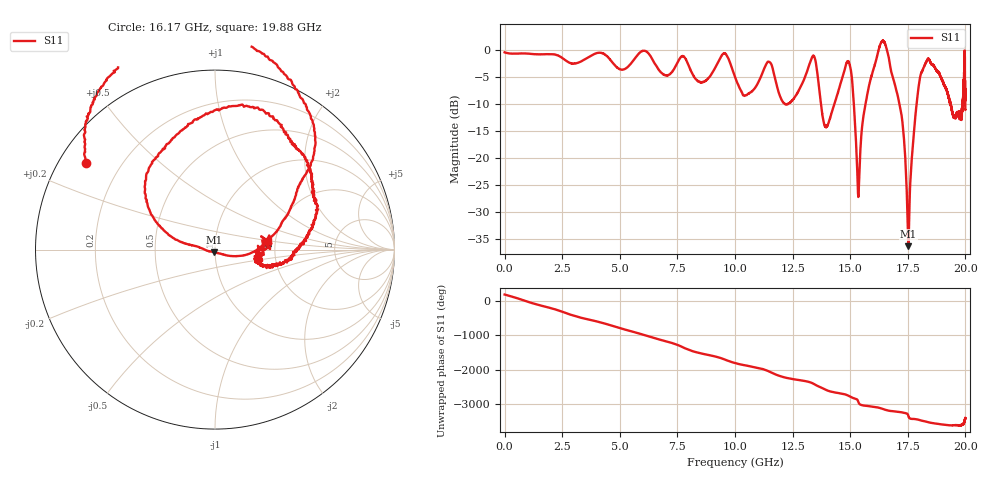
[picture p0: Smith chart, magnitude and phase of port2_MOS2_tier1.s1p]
! Created with skrf 1.8.0 (http://scikit-rf.org).
# GHz S RI R 50.0
!freq ReS11 ImS11
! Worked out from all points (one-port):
!   10001 points, 1 MHz to 20 GHz, reference 50 ohm
!   lowest |S11| = -36.3 dB at 17.53 GHz (marker M1), VSWR 1.03, Z = 49.6 - j1.45 ohm
!   |S11| at or under -10 dB: 13.73 GHz to 14.32 GHz (585.8 MHz wide, 4.18 % of centre); 17.13 GHz to 17.88 GHz (750.8 MHz wide, 4.29 % of centre); 19.36 GHz to 19.89 GHz (527.1 MHz wide, 2.69 % of centre) (the widest 3 of 10)
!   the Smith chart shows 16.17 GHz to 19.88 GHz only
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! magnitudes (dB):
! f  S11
! 1 MHz  -0.5
! 2.501 GHz  -1.5
! 5.001 GHz  -3.6
! 6.027 GHz  -0.2
! 6.949 GHz  -4.7
! 7.501 GHz  -2.5
! 8.587 GHz  -6.0
! 9.551 GHz  -0.7
! 10 GHz  -5.0
! 10.49 GHz  -8.4
! 11.49 GHz  -2.3
! 12.06 GHz  -9.6
! 12.5 GHz  -9.3
! 13.41 GHz  -1.1
! 13.98 GHz  -14.2
! 14.83 GHz  -2.6
! 15 GHz  -3.2
! 15.36 GHz  -27.1
! 15.81 GHz  -6.8
! 16.52 GHz  1.0
! 17.22 GHz  -12.0
! 17.5 GHz  -33.0
! 17.53 GHz  -36.3
! 17.93 GHz  -8.3
! 18.28 GHz  -2.5
! 18.88 GHz  -4.6
! 19.52 GHz  -12.6
! 20 GHz  -11.1
